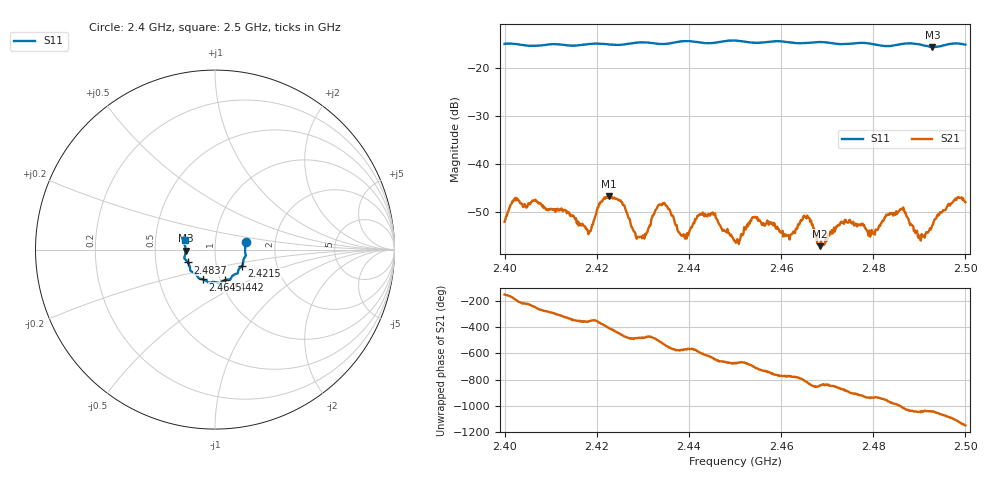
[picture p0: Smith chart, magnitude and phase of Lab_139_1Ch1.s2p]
# Hz S RI R 50
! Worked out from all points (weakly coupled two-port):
!   601 points, 2.4 GHz to 2.5 GHz, reference 50 ohm
!   highest |S21| = -46.66 dB at 2.4227 GHz (marker M1); lowest = -57.1 dB at 2.4685 GHz (marker M2)
!   lowest |S11| = -15.7 dB at 2.4928 GHz (marker M3), VSWR 1.39, Z = 36 - j0.372 ohm
!   |S11| at or under -10 dB: start of sweep to end of sweep
!   S12 and S22 are empty: the file has one direction only
!   S11 on the Smith chart (normalised r, x): 2.4 GHz: 1.41, +0.12; 2.4215 GHz: 1.33, -0.25; 2.4442 GHz: 1.05, -0.37; 2.4645 GHz: 0.83, -0.29; 2.4837 GHz: 0.73, -0.11; 2.5 GHz: 0.71, +0.07
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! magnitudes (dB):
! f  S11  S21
! 2.4 GHz  -15.1  -52.0
! 2.4025 GHz  -15.1  -47.6
! 2.4167 GHz  -15.3  -52.8
! 2.4187 GHz  -15.1  -54.0
! 2.4215 GHz  -15.1  -47.3
! 2.4227 GHz  -15.2  -46.7
! 2.429 GHz  -14.8  -55.2
! 2.4333 GHz  -15.1  -48.6
! 2.439 GHz  -14.5  -55.1
! 2.4442 GHz  -15.0  -50.5
! 2.45 GHz  -14.4  -56.0
! 2.4542 GHz  -14.9  -51.1
! 2.4613 GHz  -14.7  -54.9
! 2.4645 GHz  -15.0  -51.8
! 2.4667 GHz  -14.8  -52.7
! 2.4685 GHz  -14.7  -57.1
! 2.4833 GHz  -15.6  -50.4
! 2.4837 GHz  -15.5  -50.2
! 2.4865 GHz  -15.1  -49.0
! 2.4902 GHz  -15.2  -55.7
! 2.4928 GHz  -15.7  -52.8
! 2.5 GHz  -15.2  -48.0
